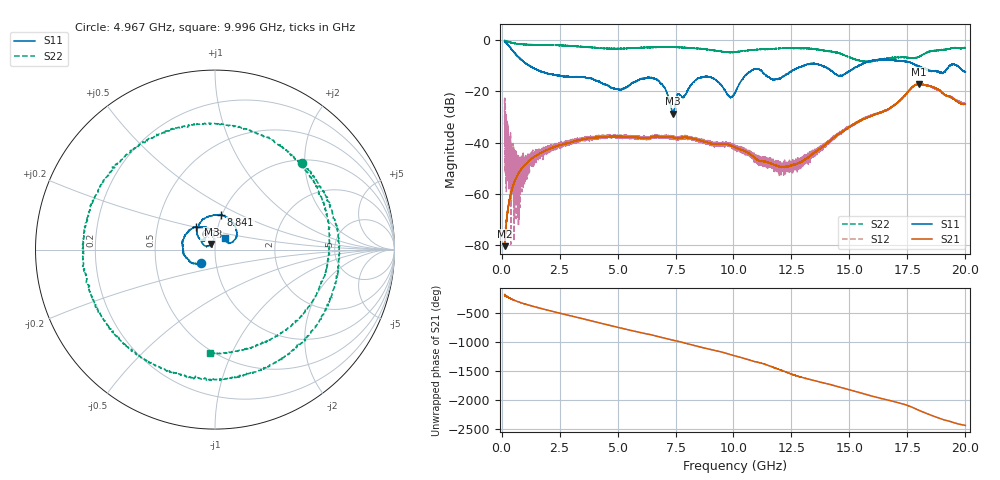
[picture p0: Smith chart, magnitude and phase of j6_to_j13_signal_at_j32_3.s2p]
!Created with skrf (http://scikit-rf.org).
# GHz S RI R 50.0
!freq ReS11 ImS11 ReS21 ImS21 ReS12 ImS12 ReS22 ImS22
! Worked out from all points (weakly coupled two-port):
!   20013 points, 130 MHz to 20 GHz, reference 50 ohm
!   highest |S21| = -17.05 dB at 18 GHz (marker M1); lowest = -80.5 dB at 131 MHz (marker M2)
!   lowest |S11| = -28.7 dB at 7.388 GHz (marker M3), VSWR 1.08, Z = 47.9 + j2.94 ohm
!   |S11| at or under -10 dB: 1.214 GHz to 13.01 GHz (11.8 GHz wide, 166 % of centre); 13.84 GHz to 15.38 GHz (1.537 GHz wide, 10.5 % of centre); 17.95 GHz to 19.31 GHz (1.364 GHz wide, 7.32 % of centre) (the widest 3 of 29)
!   |S22| runs from -8.5 to -0.1 dB; largest |S21 - S12| = 0.074
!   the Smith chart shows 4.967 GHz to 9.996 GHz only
!   S11 on the Smith chart (normalised r, x): 4.967 GHz: 0.84, -0.13; 6.73 GHz: 0.78, +0.20; 8.841 GHz: 0.99, +0.40; 9.996 GHz: 1.11, +0.14
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0.13  0.8066 -0.4849  -0.000104 -1.18e-05  0.0646 -0.0325  0.6402 -0.7466
0.131  0.8066 -0.4884  -9.3e-05 1.68e-05  0.015 0.0169  0.6362 -0.7551
0.568  -0.1871 -0.5278  0.000199 0.00176  0.000459 0.00152  -0.8523 -0.1768
1.201  -0.3192 0.0118  0.00443 4.74e-05  0.00417 0.00159  -0.0657 0.8174
2.101  0.0149 0.2168  -0.000665 -0.00763  -7.01e-05 -0.00798  0.7917 -0.1246
3.442  0.1316 -0.1378  -0.008 0.0082  -0.0083 0.00864  -0.6362 -0.3862
4.967  -0.0801 -0.0751  0.0127 -0.00336  0.0126 -0.00286  0.4847 0.4841
5.986  -0.1706 -0.0314  -0.00423 -0.0116  -0.00381 -0.0118  0.31 -0.6398
6.73  -0.1081 0.1265  -0.0132 -0.000667  -0.0134 -0.000751  -0.5137 -0.5194
6.754  -0.1026 0.1259  -0.013 -4.74e-05  -0.0132 0.000351  -0.5353 -0.4989
7.388  -0.0205 0.0306  -0.00593 0.0112  -0.006 0.0112  -0.7112 0.178
8.841  0.0335 0.1927  0.00916 -0.00444  0.00949 -0.00454  0.583 0.3109
9.996  0.055 0.0627  -0.00688 -0.00477  -0.00669 -0.0048  -0.035 -0.5766
10.065  0.0578 0.0733  -0.00722 -0.0037  -0.00676 -0.00379  -0.1034 -0.572
10.874  0.2548 -0.0914  -0.00218 0.00479  -0.00267 0.00528  -0.6436 0.0678
11.756  -0.1631 -0.0472  0.00372 0.000218  0.00398 0.000371  0.0153 0.6786
13.377  0.3428 -0.0536  -0.0051 0.00268  -0.00482 0.00193  0.4495 -0.5075
14.573  0.0759 -0.1875  0.0133 0.00719  0.0128 0.0073  -0.5093 -0.2246
15.427  0.038 -0.3205  0.0112 -0.0239  0.0106 -0.0237  -0.0462 0.3978
16.689  -0.3957 -0.1333  -0.0435 0.0145  -0.0432 0.0148  0.1052 -0.4305
17.999  -0.0937 0.2897  0.1372 -0.0303  0.1324 -0.0311  -0.4721 -0.0382
20  0.2296 -0.0702  0.00322 0.0562  0.00274 0.057  0.6788 0.2383
